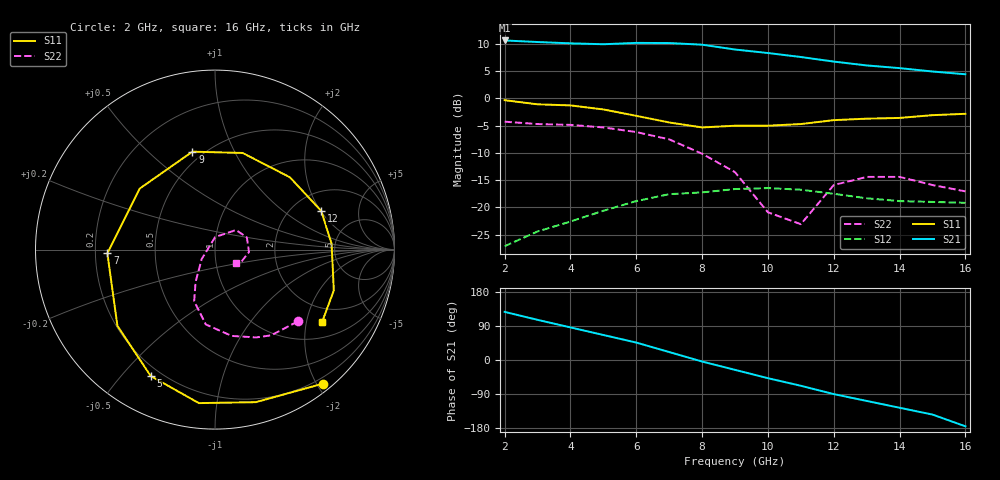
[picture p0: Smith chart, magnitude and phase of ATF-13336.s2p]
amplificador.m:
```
%% Script para Projeto de Amplificador de Baixo Ruído (LNA)
% Este script segue a metodologia do RF Toolbox da MathWorks para projetar
% um LNA. Ele determina os pontos de casamento e, em seguida, calcula as
% dimensões físicas para as redes de casamento em microfita.
% A simulação do circuito completo foi removida para focar no design.
%
% NOTA: Os parâmetros de ruído são assumidos para fins de demonstração.

clear;
clc;
close all;

%% 1. Definições Iniciais do Circuito e do Dispositivo
Z0 = 50; % Impedância do sistema (Ohms)
f0 = 10e9; % Frequência central de operação (Hz)
c = physconst('LightSpeed'); % Velocidade da luz no vácuo

% Definição dos materiais para a linha de microfita
met = metal('Name', 'Cobre', 'Conductivity', 5.8e7, ...      
       'Thickness', 17e-6);
diel = dielectric('Name','RT5880','EpsilonR', 2.2, ...
       'LossTangent', 0.0009, 'Thickness', 0.787e-3);
er = 2.2;      % Epsilon Relativo do dielétrico (RT5880)
h = 0.787e-3;  % Altura do dielétrico em metros (RT5880)

% Parâmetros-S do Transistor em 10 GHz
s = sparameters('ATF-13336.s2p');
freqs = s.Frequencies;
[~, idx] = min(abs(freqs - f0));  % índice mais próximo

S11 = s.Parameters(1,1,idx);
S21 = s.Parameters(2,1,idx);
S12 = s.Parameters(1,2,idx);
S22 = s.Parameters(2,2,idx);
S_params = [S11 S12; S21 S22];

% Parâmetros de Ruído em 10 GHz
F_min_dB = 1.3;
Gamma_opt = 0.47 * exp(1i*deg2rad(-96));
Rn = 0.5 * Z0;

% Cria o objeto amplificador para análise
lna_ckt = read(rfckt.amplifier, 'ATF-13336.s2p');
figure;
plot(lna_ckt,'Gmag','Ga','Gt','dB');
figure;
plot(lna_ckt,'Fmin','NF','dB')

%% 2. Análise de Estabilidade e Plot dos Círculos de Operação
fprintf('--- ANÁLISE INICIAL A %.1f GHz ---\n', f0/1e9);

delta = S11*S22 - S12*S21;
K = (1 - abs(S11)^2 - abs(S22)^2 + abs(delta)^2) / (2*abs(S12*S21));

fprintf('K = %.4f e delta = %.4f\n', K, delta);
if K > 1 && abs(delta) < 1
    disp('Transistor absolutamente estável.');
else
    disp('Transistor potencialmente instável. Use rede estabilizadora.');
end

% Testando se pode ser tratado como unilateral
U = abs(S11) * abs(S12) * abs(S21) * abs(S22) / ((1 - abs(S11)^2) * (1 - abs(S22)^2));
ULB = 1 / (1 + U)^2;
UUB = 1 / (1 - U)^2;
fprintf('%.4f < Gt - Gtu < %.4f\n', 10*log10(ULB), 10*log10(UUB));

% Objetivo: Figura de Ruído (NF) <= 2 dB com o maior ganho possível.
F_design_dB = 1.5;
F_design = 10^(F_design_dB/10);
F_min = 10^(F_min_dB/10);

% Calcula os parâmetros do círculo de ruído
N_param = (F_design - F_min) * abs(1 + Gamma_opt)^2 / (4 * Rn / Z0);
Cf = Gamma_opt / (N_param + 1);
Rf = (1 / (N_param + 1)) * sqrt(N_param * (N_param + 1 - abs(Gamma_opt)^2));
fprintf('Circulo de ruido Cf = %.3f e Rf = %.3f\n', Cf, Rf);
disp(Cf)
disp(Rf)

% Calcula os parâmetros do círculo de ganho
x_values = 0:0.0001:(2*pi);
Gamma_s_values = Cf + Rf * exp(1i * x_values);
Gain_values = 10*log10((1 - abs(Gamma_s_values).^2)./abs(1 - S11*Gamma_s_values).^2);
[maxGs, idx] = max(Gain_values);
Gamma_s = Gamma_s_values(idx);

% Parametriza círculo Gs
gs = (1 - abs(Gamma_s)^2) / abs(1 - S11 * Gamma_s)^2 * (1 - abs(S11)^2);
Cs = gs * conj(S11) / (1 - (1 - gs) * abs(S11)^2);
Rs = sqrt(1 - gs) * (1 - abs(S11)^2) / (1 - (1 - gs) * abs(S11)^2);
fprintf('Circulo de ganho Cs = %.3f e Rs = %.3f\n', Cs, Rs);
disp(Cs)
disp(Rs)

% Calcula o Gamma_l necessário para casamento conjugado na saída
Gamma_out = S22 + (S12*S21*Gamma_s)/(1-S11*Gamma_s);
Gamma_l = conj(Gamma_out);

%% 3. Análise de Ganho e Ruído para o Ponto de Projeto
fprintf('\n--- PONTOS DE PROJETO ESCOLHIDOS ---\n');
fprintf('Coeficiente de Reflexão da Fonte (Γs) = %.3f ∠ %.3f°\n', abs(Gamma_s), rad2deg(angle(Gamma_s)));
fprintf('Coeficiente de Reflexão da Carga (Γl) = %.3f ∠ %.3f°\n', abs(Gamma_l), rad2deg(angle(Gamma_l)));

% Figura de Ruído para o Gamma_s escolhido (deve ser F_design_dB)
NF_design_dB = 10*log10(F_min + (4*Rn/Z0)*abs(Gamma_s-Gamma_opt)^2 / ((1-abs(Gamma_s)^2)*abs(1+Gamma_opt)^2) );

% Ganho Disponível para o Gamma_s escolhido (Fórmula Bilateral Exata)
Ga_design_val = (abs(S21)^2 * (1 - abs(Gamma_s)^2)) / (abs(1 - S11*Gamma_s)^2 * (1 - abs(Gamma_out)^2));
Ga_design_dB = 10*log10(Ga_design_val);

% Ganho do Transistor (G0) e Ganhos das Redes (unilateral)
Gs_u = 10*log10((1 - abs(Gamma_s)^2)/abs(1 - S11*Gamma_s)^2);
G0 = 10*log10(abs(S21)^2);
Gl = 10*log10((1 - abs(Gamma_l)^2) / abs(1 - S22 * Gamma_l)^2);
GT_u = Gs_u + G0 + Gl;

% Ganho de Transdução Bilateral (Exato)
gamma_in = S11 + (S12 * S21 * Gamma_l) / (1 - S22 * Gamma_l);
GT = 10*log10((abs(S21)^2 * (1-abs(Gamma_s)^2) * (1-abs(Gamma_l)^2)) / ...
     (abs(1 - Gamma_s * gamma_in)^2 * abs(1 - S22 * Gamma_l)^2));
GTu = 10*log10((abs(S21)^2 * (1-abs(Gamma_s)^2) * (1-abs(Gamma_l)^2)) / ...
     (abs(1-S11*Gamma_s)^2 * abs(1-S22*Gamma_l)^2));

fprintf('\n--- ANÁLISE DE GANHO E RUÍDO ---\n');
fprintf('Figura de Ruído Esperada: %.3f dB\n', NF_design_dB);
fprintf('Ganho Disponível (Ga): %.3f dB\n', Ga_design_dB);
fprintf('Ganho da Rede de Entrada (Gs, unilateral): %.3f dB\n', Gs_u);
fprintf('Ganho do Transistor (G0): %.3f dB\n', G0);
fprintf('Ganho da Rede de Saída: %.3f dB\n', Gl);
fprintf('Ganho Total (GT, unilateral): %.3f dB\n', GT_u);
fprintf('Ganho Total de Transdução (GT, bilateral exato): %.3f dB\n', GT);


%% 4. Plot dos Círculos de Projeto e Pontos de Casamento
figure;
hsm = smithplot;
title('Círculos de Projeto de LNA e Pontos de Casamento');
hold on;

% Plota o círculo de Ganho Disponível de projeto
%circle(lna_ckt, f0, 'Ga', Ga_design_dB);
% Plota o círculo de Figura de Ruído de projeto
circle(lna_ckt, f0, 'NF', F_design_dB);
xpoints = 0:0.001:(2*pi);
Gs_points = Cs + Rs * exp(1i * xpoints);
plot(real(Gs_points), imag(Gs_points), 'LineStyle','-','Color','r','DisplayName', 'Gs(Freq=10[GHz])');

% Plota os pontos de casamento
plot(real(Gamma_s), imag(Gamma_s), '*', 'MarkerSize', 8, 'Color', 'g', 'DisplayName', 'Γ_s');
plot(real(Gamma_l), imag(Gamma_l), '*', 'MarkerSize', 8, 'Color', 'm', 'DisplayName', 'Γ_l');
legend('show', 'Location', 'northeast');
hold off;

%% 5. Projeto das Redes de Casamento em Microfita
fprintf('\n--- PROJETO DAS REDES DE CASAMENTO EM MICROFITA ---\n');

% Impedâncias alvo para as redes de casamento
% A rede de entrada deve apresentar Zs ao transistor, vindo de Z0.
% A rede de saída deve apresentar Zl ao transistor, vindo de Z0.
Zs = Z0 * (1+Gamma_s)/(1-Gamma_s);
Zl = Z0 * (1+Gamma_l)/(1-Gamma_l);
fprintf('Impedância Requerida na Entrada do Transistor (Zs) = %.3f + %.3fj Ω\n', real(Zs), imag(Zs));
fprintf('Impedância Requerida na Saída do Transistor (Zl) = %.3f + %.3fj Ω\n', real(Zl), imag(Zl));

% Projeto da rede de ENTRADA (transforma Z0 em Zs)
[d_in, l_in, w_in] = design_matcher(Z0, conj(Zs), f0, met, diel);
% Projeto da rede de SAÍDA (transforma Z0 em Zl)
[d_out, l_out, w_out] = design_matcher(Z0, conj(Zl), f0, met, diel);

fprintf('\n-- Rede de Entrada (50Ω -> Zs) --\n');
fprintf('Largura da linha (W): %.4f mm\n', w_in*1000);
fprintf('Distância do transistor ao stub (d): %.4f mm\n', d_in*1000);
fprintf('Comprimento do stub em aberto (l): %.4f mm\n', l_in*1000);

fprintf('\n-- Rede de Saída (50Ω -> Zl) --\n');
fprintf('Largura da linha (W): %.4f mm\n', w_out*1000);
fprintf('Distância do transistor ao stub (d): %.4f mm\n', d_out*1000);
fprintf('Comprimento do stub em aberto (l): %.4f mm\n', l_out*1000);

epsilon_eff = (diel.EpsilonR + 1)/2 + ((diel.EpsilonR - 1)/2) .* (1 ./ sqrt(1 + 12 * diel.Thickness ./ w_in));
d_common = physconst('LightSpeed') / (2 * f0 * sqrt(epsilon_eff));
common_line = rfckt.microstrip("EpsilonR", diel.EpsilonR, "LossTangent", diel.LossTangent, ...
    "Height",diel.Thickness,"Thickness",met.Thickness, ...
    "SigmaCond",met.Conductivity,"LineLength",d_common,"Width",w_in);

input_match = rfckt.microstrip("EpsilonR", diel.EpsilonR, "LossTangent", diel.LossTangent, ...
    "Height",diel.Thickness,"Thickness",met.Thickness,"StubMode","Shunt","Termination","Open", ...
    "SigmaCond",met.Conductivity,"LineLength",l_in,"Width",w_in);
output_match = rfckt.microstrip("EpsilonR", diel.EpsilonR, "LossTangent", diel.LossTangent, ...
    "Height",diel.Thickness,"Thickness",met.Thickness,"StubMode","Shunt","Termination","Open", ...
    "SigmaCond",met.Conductivity,"LineLength",l_out,"Width",w_out);
out_line = rfckt.microstrip("EpsilonR", diel.EpsilonR, "LossTangent", diel.LossTangent, ...
    "Height",diel.Thickness,"Thickness",met.Thickness, ...
    "SigmaCond",met.Conductivity,"LineLength",d_out,"Width",w_in);
in_line = rfckt.microstrip("EpsilonR", diel.EpsilonR, "LossTangent", diel.LossTangent, ...
    "Height",diel.Thickness,"Thickness",met.Thickness, ...
    "SigmaCond",met.Conductivity,"LineLength",d_in,"Width",w_in);
LNA = rfckt.cascade('ckts', {common_line, input_match, in_line, lna_ckt, out_line, output_match, common_line});

% Alternativo

[Xl, Bl] = calc_reactances(Z0, conj(Zl));
Ll = Xl(1) / (2 * pi * f0);
Cl = Bl(1) / (2 * pi * f0);
%Ls = 0.42 * 1e-9;
%Cs = 0.5818 * 1e-12;
[Xs, Bs] = calc_reactances(Z0, conj(Zs));
Ls = Xs(1) / (2 * pi * f0);
Cs = Bs(1) / (2 * pi * f0);
%Ls = 0.418 * 1e-9;
%Cs = 0.525 * 1e-12;
fprintf('Capacitor s: %.4f pF\n', Cs*1e12);
fprintf('Indutor s: %.4f nH\n', Ls*1e9);
fprintf('Capacitor l: %.4f pF\n', Cl*1e12);
fprintf('Indutor l: %.4f nH\n', Ll*1e9);

%input_match = rfckt.cascade('Ckts',{rfckt.shuntrlc('C',Cs),rfckt.seriesrlc('L',Ls)});
%output_match = rfckt.cascade('Ckts',{rfckt.seriesrlc('L',Ll),rfckt.shuntrlc('C',Cl)});
%LNA = rfckt.cascade('Ckts', {input_match,lna_ckt,output_match});

% Fim alternativo

freq = 7e9:10e6:12e9;
analyze(LNA,freq,Z0,Z0,Z0);
figure;
plot(LNA,'Ga','Gt','dB');
figure;
plot(LNA,'NF','dB')
figure;
s = sparameters(LNA);
rfplot(s,1,1);
figure;
rfplot(s,2,1)

% Calcula largura de banda e Q
s21 = rfparam(s, 2, 1);         % extrai S21
mag = 20*log10(abs(s21));       % converte para dB

% Limiar para banda passante (ex: -3 dB)
fprintf('Ganho S21: %.2 dB\n', max(mag));
threshold_pass = -3 + max(mag);
in_band = find(mag > threshold_pass);
f_start = freq(in_band(1));
f_stop  = freq(in_band(end));
BW_pass = f_stop - f_start;
fprintf('Banda útil: %.2f MHz (%.2f GHz – %.2f GHz)\n', ...
    BW_pass/1e6, f_start/1e9, f_stop/1e9);
Q = f0 / BW_pass;
fprintf('Fator de Qualidade (Q): %.2f\n', Q);

%% Funções Auxiliares para o Projeto
% Esta função projeta uma rede de casamento com shunt stub
function [d, l, w] = design_matcher(Z0, Z_target, f0, met, diel)

    RL = real(Z_target);
    XL = imag(Z_target);

    %xpoints = 0:0.001:(2*pi);
    %Gs_points = Cs + Rs * exp(1i * xpoints);
    %plot(real(Gs_points), imag(Gs_points), 'LineStyle','-','Color','r');


    line = microstripLine("Conductor",met,"Substrate",diel,"Height",diel.Thickness);
    line = design(line,f0);
    w = line.Width;
    epsilon_eff = (diel.EpsilonR + 1)/2 + ((diel.EpsilonR - 1)/2) .* (1 ./ sqrt(1 + 12 * diel.Thickness ./ w));

    lambda = physconst('LightSpeed') / (f0 * sqrt(epsilon_eff));
    t = (XL - sqrt(RL * ((Z0 - RL)^2 + XL^2) / Z0 )) / (RL - Z0);
    if t >= 0
        d = 1 / (2 * pi) * atan(t) * lambda;
    else
        d = 1 / (2 * pi) * (pi + atan(t)) * lambda;
    end

    B = (RL^2 * t - (Z0 - XL * t) * (XL + Z0 * t)) / (Z0 * (RL^2 + (XL + Z0 * t)^2));
    l = - 1 / (2 * pi) * atan(B * Z0) * lambda;
    if l < 0
        l = l + lambda/2;
    end
end

function [X, B] = calc_reactances(Z0, ZL)
    RL = real(ZL);
    XL = imag(ZL);

    % Calcula X (reatância da linha principal)
    disc_X = RL*(Z0 - RL);
    X_pos =  sqrt(disc_X) - XL;
    X_neg = -sqrt(disc_X) - XL;

    % Calcula B (susceptância do stub)
    disc_B = (Z0 - RL) / RL;
    B_pos =  sqrt(disc_B) / Z0;
    B_neg = -sqrt(disc_B) / Z0;

    % Retorna todas as soluções possíveis
    X = [X_pos, X_neg];
    B = [B_pos, B_neg];
end
```
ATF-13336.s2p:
!ATF-13336
!S-PARAMETERS at Vds=2.5V  Id=20mA.  LAST UPDATED 07-22-92
# ghz s ma r 50
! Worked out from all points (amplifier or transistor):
!   15 points, 2 GHz to 16 GHz, reference 50 ohm
!   highest |S21| = 10.6 dB at 2 GHz (marker M1)
!   |S21| within 3 dB of that: start of sweep to 10.95 GHz
!   unconditionally stable (mu >= 1): 9.651 GHz to end of sweep
!   at 4 GHz: K = 0.54, MSG = 16.3 dB, |S12| = -22.6 dB
!   at 9 GHz: K = 0.94, MSG = 12.8 dB, |S12| = -16.7 dB
!   at 16 GHz: K = 1.42, MAG = 7.9 dB, |S12| = -19.2 dB
!   lowest NFmin = 0.70 dB at 2 GHz
!   S11 on the Smith chart (normalised r, x): 2 GHz: 0.11, -2.09; 5 GHz: 0.16, -0.60; 7 GHz: 0.25, -0.02; 9 GHz: 0.44, +0.70; 12 GHz: 2.83, +2.02; 16 GHz: 1.48, -2.48
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2  0.96 -51.0  3.39 127.0  0.044 57.0  0.61 -41.0
3  0.88 -75.0  3.28 106.0  0.06 33.0  0.58 -51.0
5  0.79 -117.0  3.13 66.0  0.093 12.0  0.54 -65.0
6  0.69 -142.0  3.22 46.0  0.114 1.0  0.49 -79.0
7  0.6 -178.0  3.21 21.0  0.132 -18.0  0.42 -97.0
8  0.54 141.0  3.1 -4.0  0.137 -33.0  0.31 -112.0
9  0.56 103.0  2.8 -26.0  0.147 -48.0  0.21 -121.0
11  0.58 44.0  2.39 -68.0  0.145 -78.0  0.07 89.0
12  0.63 20.0  2.17 -90.0  0.133 -95.0  0.16 43.0
15  0.7 -19.0  1.76 -144.0  0.112 -129.0  0.16 -28.0
16  0.72 -34.0  1.66 -175.0  0.11 -142.0  0.14 -32.0
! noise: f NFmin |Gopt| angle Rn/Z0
2  0.7  0.8  42  0.43
4  0.8  0.63  93  0.29
6  1.1  0.47  138  0.1
8  1.2  0.4  -153  0.2
10  1.3  0.47  -96  0.5
12  1.4  0.52  -45  0.88
14  1.6  0.57  -2  1.3
